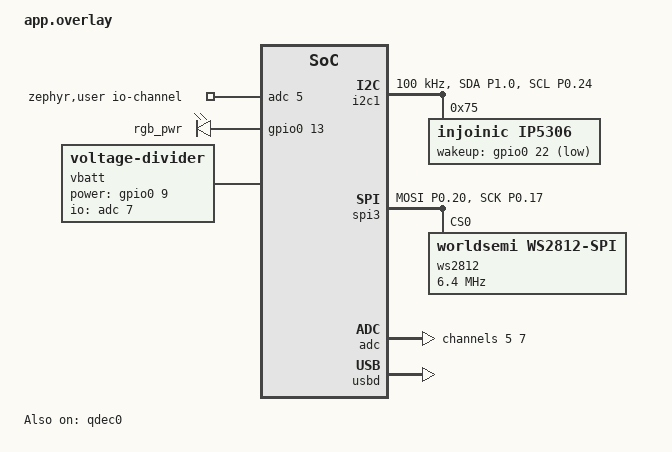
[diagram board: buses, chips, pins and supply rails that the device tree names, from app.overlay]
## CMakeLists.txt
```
# SPDX-License-Identifier: Apache-2.0

cmake_minimum_required(VERSION 3.20.0)
find_package(Zephyr REQUIRED HINTS $ENV{ZEPHYR_BASE})
project(keypad)

zephyr_include_directories(include)

target_sources(app PRIVATE
  src/main.c
  src/app/encoder.c
  src/app/power_mgr.c
  src/app/mode.c
  src/app/keyboard_core.c
  src/app/keymap.c
  src/app/led_strip.c
  src/hid_scheduler.c
  src/usb_hid_transport.c
  src/ble_hid_service.c
  src/events/battery_event.c
  src/events/encoder_event.c
  src/events/mode_event.c
  src/events/hid_key_event.c
  src/events/hid_consumer_event.c
  src/events/hid_led_event.c
  src/events/hid_report_to_send_event.c
  src/events/hid_report_sent_event.c
  src/events/hid_channel_ready_event.c
  src/events/set_protocol_event.c
  src/events/bitmap_cfg_event.c
  src/events/funckey_report_event.c
  src/events/theme_rgb_update_event.c
  src/events/led_strip_en_event.c
  drivers/ip5306/ip5306.c
)
```

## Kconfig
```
# 蓝牙小键盘应用 Kconfig

mainmenu "BLE keypad application"

source "Kconfig.zephyr"

menu "Drivers"
rsource "drivers/ip5306/Kconfig"
endmenu
```

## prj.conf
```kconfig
# 蓝牙小键盘（对齐参考 keyboard 工程）
# CAF buttons 矩阵 + 硬件 QDEC + voltage-divider 电池 + IP5306 PPI 保活

CONFIG_GPIO=y

# CAF 事件管理器
CONFIG_CAF=y
CONFIG_APP_EVENT_MANAGER=y
CONFIG_APP_EVENT_MANAGER_MAX_EVENT_CNT=256
CONFIG_CAF_BUTTON_EVENTS=y

# CAF buttons：矩阵扫描、去抖、低功耗唤醒、按键保活
CONFIG_CAF_BUTTONS=y
CONFIG_CAF_BUTTONS_PM_KEEP_ALIVE=y

# CAF Power Manager：空闲进入 suspended，不进入 System OFF
CONFIG_CAF_POWER_MANAGER=y
CONFIG_CAF_POWER_MANAGER_STAY_ON=y
CONFIG_CAF_POWER_MANAGER_TIMEOUT=120
CONFIG_CAF_POWER_MANAGER_CLEAR_RESET_REASON=y
CONFIG_CAF_KEEP_ALIVE_EVENTS=y
CONFIG_REBOOT=y

# 编码器：硬件 QDEC（sensor API）
CONFIG_SENSOR=y
CONFIG_QDEC_NRFX=y

# 电池：voltage-divider 传感器驱动
CONFIG_VOLTAGE_DIVIDER=y

# IP5306 PMIC + I2C + ADC + PPI 硬件保活
CONFIG_IP5306=y
CONFIG_I2C=y
CONFIG_ADC=y
CONFIG_NRFX_GPPI=y

# USB Device Next Stack：复合设备（HID Keyboard + HID Consumer + CDC ACM）
CONFIG_USB_DEVICE_STACK_NEXT=y
CONFIG_USBD_HID_SUPPORT=y
CONFIG_USBD_HID_IN_BUF_COUNT=4
CONFIG_USBD_HID_OUT_BUF_COUNT=2

# CDC ACM（复合设备第三接口，占位）
CONFIG_SERIAL=y
CONFIG_UART_LINE_CTRL=y
CONFIG_USBD_CDC_ACM_CLASS=y

# ============ BLE HID（与 USB 同级，模式切换）============
# Zephyr BT 基础
CONFIG_BT=y
CONFIG_BT_PERIPHERAL=y
CONFIG_BT_MAX_CONN=1
CONFIG_BT_MAX_PAIRED=1
CONFIG_BT_DEVICE_NAME="ATG KBD 32500"
CONFIG_BT_DEVICE_APPEARANCE=961
CONFIG_BT_SMP=y
CONFIG_BT_BONDABLE=y
CONFIG_BT_ATT_TX_COUNT=5
CONFIG_BT_L2CAP_TX_MTU=65
CONFIG_BT_BUF_ACL_RX_SIZE=69
CONFIG_BT_BUF_ACL_TX_SIZE=69
CONFIG_BT_GATT_AUTO_SEC_REQ=n
CONFIG_BT_AUTO_PHY_UPDATE=n
CONFIG_BT_CONN_CTX=y

# Advertising provisioning（CAF ble_adv 需要）
CONFIG_BT_ADV_PROV_FLAGS=y
CONFIG_BT_ADV_PROV_GAP_APPEARANCE=y
CONFIG_BT_ADV_PROV_DEVICE_NAME=y
CONFIG_BT_ADV_PROV_DEVICE_NAME_SD=y
# 设备名始终广播（默认仅在配对模式带名，绑定后搜不到）
CONFIG_BT_ADV_PROV_DEVICE_NAME_PAIRING_MODE_ONLY=n
CONFIG_BT_ADV_PROV_SWIFT_PAIR=y

# HID over GATT + BAS + DIS
CONFIG_BT_HIDS=y
CONFIG_BT_HIDS_MAX_CLIENT_COUNT=1
CONFIG_BT_HIDS_INPUT_REP_MAX=2
CONFIG_BT_HIDS_OUTPUT_REP_MAX=1
CONFIG_BT_HIDS_ATTR_MAX=50
CONFIG_BT_GATT_CHRC_POOL_SIZE=20
CONFIG_BT_GATT_UUID16_POOL_SIZE=40
CONFIG_BT_BAS=y
CONFIG_BT_DIS=y
CONFIG_BT_DIS_MANUF_NAME=y
CONFIG_BT_DIS_MANUF_NAME_STR="atguigu"
CONFIG_BT_DIS_PNP=y
CONFIG_BT_DIS_PNP_VID_SRC=2
CONFIG_BT_DIS_PNP_VID=0x2FE3
CONFIG_BT_DIS_PNP_PID=0x0001
CONFIG_BT_DIS_PNP_VER=0x0100

# CAF BLE 模块
CONFIG_CAF_BLE_STATE=y
# 关闭主动请求加密：Windows 作为 HID 主机连接后会主动发起配对加密，
# 设备被动响应更稳定（避免主动 set_security 与主机初始化竞争导致 err 2）
# CONFIG_CAF_BLE_STATE_SECURITY_REQ=y
CONFIG_CAF_BLE_STATE_PM=y
CONFIG_CAF_BLE_STATE_MAX_LOCAL_ID_BONDS=1
CONFIG_CAF_MODULE_SUSPEND_EVENTS=y
CONFIG_CAF_BLE_ADV=y
CONFIG_CAF_BLE_ADV_MODULE_SUSPEND_EVENTS=y
CONFIG_CAF_BLE_ADV_FAST_ADV=y
# 关闭 accept list 过滤：删除设备后立即可重新搜索/配对（键盘场景便利优先）
# CONFIG_CAF_BLE_ADV_FILTER_ACCEPT_LIST=y
CONFIG_CAF_BLE_BOND=y
CONFIG_CAF_BLE_BOND_PEER_ERASE_CLICK=y
CONFIG_CAF_BLE_BOND_PEER_ERASE_CLICK_LONG=y
CONFIG_CAF_BLE_BOND_PEER_ERASE_CLICK_KEY_ID=3
CONFIG_CAF_BLE_BOND_PEER_ERASE_CLICK_TIMEOUT=5000

# 点击检测（旋钮按键短/长按 → 配对/清绑定）
CONFIG_CAF_CLICK_DETECTOR=y
CONFIG_CAF_CLICK_DETECTOR_DEF_PATH="click_detector_def.h"

# 绑定持久化（settings + NVS）
CONFIG_BT_SETTINGS=y
CONFIG_CAF_SETTINGS_LOADER=y
CONFIG_CAF_SETTINGS_LOADER_DEF_PATH="settings_loader_def.h"
CONFIG_CAF_SETTINGS_LOADER_USE_THREAD=y
CONFIG_CAF_SETTINGS_LOADER_THREAD_STACK_SIZE=1792
CONFIG_SETTINGS=y
CONFIG_SETTINGS_NVS=y
CONFIG_NVS=y
CONFIG_FLASH=y
CONFIG_FLASH_PAGE_LAYOUT=y
CONFIG_FLASH_MAP=y

# 日志（RTT 输出）
CONFIG_LOG=y
CONFIG_USE_SEGGER_RTT=y
CONFIG_CONSOLE=y
CONFIG_RTT_CONSOLE=y
CONFIG_SEGGER_RTT_BUFFER_SIZE_UP=16384

# CAF 事件管理器需要堆内存（BLE 栈加大）
CONFIG_HEAP_MEM_POOL_SIZE=8192

# ===== WS2812 LED strip =====
CONFIG_LED=y
CONFIG_LED_STRIP=y
CONFIG_WS2812_STRIP_SPI=y
CONFIG_SPI=y
CONFIG_SPI_NRFX=y
```

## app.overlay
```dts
/*
 * 蓝牙小键盘 - devicetree overlay（对齐参考工程 keyboard）
 *
 * 包含：
 *   - EC11 编码器（硬件 QDEC：qdec0，A=P0.10 B=P1.06）
 *   - IP5306 PMIC（I2C1，地址 0x75，PPI/GPIOTE 硬件保活）
 *   - 电池电压（voltage-divider 传感器，AIN7 / P0.31，BAT_ADC_EN=P0.09）
 *   - NFC 引脚释放为 GPIO
 */

#include <zephyr/dt-bindings/gpio/gpio.h>
#include <zephyr/dt-bindings/pinctrl/nrf-pinctrl.h>
#include <zephyr/dt-bindings/adc/adc.h>
#include <zephyr/dt-bindings/adc/nrf-adc.h>
#include <zephyr/dt-bindings/led/led.h>

/ {
	/* 三模切换拨档：AIN5 = P0.29（E73 引脚8），SK-13D07-4 三档分压 0/1.65/3.3V */
	zephyr,user {
		io-channels = <&adc 5>;
	};

	/* USB HID：键盘（NKRO/Boot）+ Consumer */
	hid_kbd: hid_kbd {
		compatible = "zephyr,hid-device";
		label = "HID_KBD";
		protocol-code = "keyboard";
		in-report-size = <29>;
		out-report-size = <29>;
		in-polling-period-us = <1000>;
		out-polling-period-us = <1000>;
	};

	hid_consumer: hid_consumer {
		compatible = "zephyr,hid-device";
		label = "HID_CONSUMER";
		protocol-code = "none";
		in-report-size = <2>;
		in-polling-period-us = <1000>;
	};

	/* WS2812 灯带别名（用于 led_strip.c 获取设备） */
	aliases {
		led-strip = &ws2812;
	};

	/* WS2812 供电控制（gpio-leds 方式，避免 regulator-fixed 无宏坑） */
	rgb_pwr_en: rgb-pwr-en {
		compatible = "gpio-leds";
		rgb_pwr: rgb_pwr {
			gpios = <&gpio0 13 GPIO_ACTIVE_HIGH>;
		};
	};

	/* 电池电压分压采样（voltage-divider 传感器驱动）：
	 * R6(100k) + R8(100k) -> 采中间点，倍率为 full/output = 2
	 * BAT_ADC_EN = P0.09（NF1 释放为 GPIO），高有效使能分压网络
	 */
	vbatt: vbatt {
		compatible = "voltage-divider";
		io-channels = <&adc 7>;
		output-ohms = <100000>;
		full-ohms = <200000>;
		power-gpios = <&gpio0 9 GPIO_ACTIVE_HIGH>;
		power-on-sample-delay-us = <15000>;
	};
};

&uicr {
	nfct-pins-as-gpios;
};

&pinctrl {
	i2c1_default: i2c1_default {
		group1 {
			psels = <NRF_PSEL(TWIM_SDA, 1, 0)>,
				<NRF_PSEL(TWIM_SCL, 0, 24)>;
		};
	};

	i2c1_sleep: i2c1_sleep {
		group1 {
			psels = <NRF_PSEL(TWIM_SDA, 1, 0)>,
				<NRF_PSEL(TWIM_SCL, 0, 24)>;
			low-power-enable;
		};
	};

	qdec_default: qdec_default {
		group1 {
			psels = <NRF_PSEL(QDEC_A, 0, 10)>,
				<NRF_PSEL(QDEC_B, 1, 6)>;
			bias-pull-up;
		};
	};

	qdec_sleep: qdec_sleep {
		group1 {
			psels = <NRF_PSEL(QDEC_A, 0, 10)>,
				<NRF_PSEL(QDEC_B, 1, 6)>;
			low-power-enable;
		};
		};

	spi3_default: spi3_default {
		group1 {
			psels = <NRF_PSEL(SPIM_MOSI, 0, 20)>,
				<NRF_PSEL(SPIM_SCK,  0, 17)>;
		};
	};

	spi3_sleep: spi3_sleep {
		group1 {
			psels = <NRF_PSEL(SPIM_MOSI, 0, 20)>,
				<NRF_PSEL(SPIM_SCK,  0, 17)>;
			low-power-enable;
		};
	};
};

&i2c1 {
	compatible = "nordic,nrf-twim";
	status = "okay";
	clock-frequency = <100000>;
	pinctrl-0 = <&i2c1_default>;
	pinctrl-1 = <&i2c1_sleep>;
	pinctrl-names = "default", "sleep";

	ip5306: ip5306@75 {
		compatible = "injoinic,ip5306";
		reg = <0x75>;
		wakeup-gpios = <&gpio0 22 GPIO_ACTIVE_LOW>;
		keep-alive-interval-ms = <15000>;
		pulse-width-ms = <50>;
	};
};

&spi3 {
	compatible = "nordic,nrf-spim";
	status = "okay";
	#address-cells = <1>;
	#size-cells = <0>;
	pinctrl-0 = <&spi3_default>;
	pinctrl-1 = <&spi3_sleep>;
	pinctrl-names = "default", "sleep";

	ws2812: ws2812@0 {
		compatible = "worldsemi,ws2812-spi";
		reg = <0>;
		spi-max-frequency = <6400000>;
		spi-one-frame = <0x70>;
		spi-zero-frame = <0x40>;
		chain-length = <17>;
		color-mapping = <LED_COLOR_ID_GREEN
				 LED_COLOR_ID_RED
				 LED_COLOR_ID_BLUE>;
	};
};

&qdec0 {
	led-pre = <0>;
	steps = <80>;
	nordic,period = "SAMPLEPER_2048US";
	pinctrl-0 = <&qdec_default>;
	pinctrl-1 = <&qdec_sleep>;
	pinctrl-names = "default", "sleep";
	status = "okay";
};

&adc {
	status = "okay";
	#address-cells = <1>;
	#size-cells = <0>;

	/* 三模切换：AIN5 = P0.29 */
	channel@5 {
		reg = <5>;
		zephyr,gain = "ADC_GAIN_1_6";
		zephyr,reference = "ADC_REF_INTERNAL";
		zephyr,acquisition-time = <ADC_ACQ_TIME_DEFAULT>;
		zephyr,input-positive = <NRF_SAADC_AIN5>;
		zephyr,resolution = <14>;
	};

	channel@7 {
		reg = <7>;
		zephyr,gain = "ADC_GAIN_1_6";
		zephyr,reference = "ADC_REF_INTERNAL";
		zephyr,acquisition-time = <ADC_ACQ_TIME_DEFAULT>;
		zephyr,input-positive = <NRF_SAADC_AIN7>;
		zephyr,resolution = <14>;
	};
};

&usbd {
	status = "okay";

	cdc_acm_uart0: cdc_acm_uart0 {
		compatible = "zephyr,cdc-acm-uart";
		label = "CDC_ACM_0";
	};
};
```

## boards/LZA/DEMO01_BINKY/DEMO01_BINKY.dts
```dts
/dts-v1/;
#include <nordic/nrf52840_qiaa.dtsi>
#include "DEMO01_BINKY-pinctrl.dtsi"

/ {
	model = "DEMO01_BINKY TEST";
	compatible = "LZA,DEMO01-BINKY";

	chosen {
		zephyr,sram = &sram0;
		zephyr,flash = &flash0;
		zephyr,code-partition = &slot0_partition;
	};
		// LED
	aliases {
        led0 = &myled0;
     };

  	leds {
    	compatible = "gpio-leds";

		// GPIO 1.02 拉低有效
    	myled0: led_0 {
      		gpios = <&gpio1 2 GPIO_ACTIVE_LOW>;
    	};
  	};
};

&flash0 {
	partitions {
		compatible = "fixed-partitions";
		#address-cells = <1>;
		#size-cells = <1>;

		boot_partition: partition@0 {
			label = "mcuboot";
			reg = <0x00000000 DT_SIZE_K(48)>;
		};

		slot0_partition: partition@c000 {
			label = "image-0";
			reg = <0x0000c000 DT_SIZE_K(472)>;
		};

		slot1_partition: partition@82000 {
			label = "image-1";
			reg = <0x00082000 DT_SIZE_K(472)>;
		};

		storage_partition: partition@f8000 {
			label = "storage";
			reg = <0x000f8000 DT_SIZE_K(32)>;
		};
	};
};

// 开启GPIO外设
&gpio0 {
	status = "okay";
};

&gpio1 {
	status = "okay";
};

&gpiote {
	status = "okay";
};
```

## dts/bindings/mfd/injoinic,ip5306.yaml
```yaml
description: IP5306 Power Management IC

compatible: "injoinic,ip5306"

include: [i2c-device.yaml]

properties:
  wakeup-gpios:
    type: phandle-array
    required: false
    description: |
      GPIO connected to IP5306 KEY pin.
      When configured, the driver generates periodic low pulses
      to prevent IP5306 from entering light-load auto-shutdown.

  keep-alive-interval-ms:
    type: int
    required: false
    default: 15000
    description: Interval between KEY keep-awive pulses (ms).

  pulse-width-ms:
    type: int
    required: false
    default: 50
    description: |
      Width of KEY low pulse (ms). Must be > 30ms per IP5306
      short-press debounce spec.
```

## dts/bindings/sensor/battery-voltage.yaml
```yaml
# SPDX-License-Identifier: Apache-2.0

description: Battery voltage measurement node

compatible: "battery-voltage"

include: base.yaml
```

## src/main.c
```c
/*
 * 蓝牙小键盘 - 主程序（CAF 标准，对齐参考 keyboard 工程）
 *
 * 仅初始化 app_event_manager 并上报 main READY；
 * CAF buttons 矩阵扫描/唤醒、QDEC 编码器、power_mgr 电池、
 * keyboard_core 按键消费均由各模块在 main READY 后自动初始化。
 */

#include <zephyr/kernel.h>
#include <zephyr/logging/log.h>

#include <app_event_manager.h>

#define MODULE main
#include <caf/events/module_state_event.h>

LOG_MODULE_REGISTER(MODULE);

int main(void)
{
	if (app_event_manager_init()) {
		LOG_ERR("Application Event Manager not initialized");
		return 0;
	}

	module_set_state(MODULE_STATE_READY);

	return 0;
}
```

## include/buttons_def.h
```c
/*
 * 蓝牙小键盘 - CAF buttons 行列定义
 *
 * 列 = 输出高有效（扫描源），行 = 输入 + 下拉 + 高有效（默认极性）。
 * 与参考 keyboard 工程 inc/buttons_def.h 一致，也等价于原 matrix.c 的扫描方式。
 */

#include <caf/gpio_pins.h>

static const struct gpio_pin col[] = {
	{ .port = 0, .pin = 5 },   /* COL0 P0.05 */
	{ .port = 0, .pin = 6 },   /* COL1 P0.06 */
	{ .port = 0, .pin = 26 },  /* COL2 P0.26 */
	{ .port = 0, .pin = 30 },  /* COL3 P0.30 */
};

static const struct gpio_pin row[] = {
	{ .port = 0, .pin = 15 },  /* ROW0 P0.15 */
	{ .port = 0, .pin = 7 },   /* ROW1 P0.07 */
	{ .port = 0, .pin = 12 },  /* ROW2 P0.12 */
	{ .port = 0, .pin = 4 },   /* ROW3 P0.04 */
	{ .port = 1, .pin = 9 },   /* ROW4 P1.09 */
	{ .port = 0, .pin = 8 },   /* ROW5 P0.08 */
};
```

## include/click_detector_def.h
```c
/*
 * SPDX-License-Identifier: LicenseRef-Nordic-5-Clause
 */

#include <caf/click_detector.h>
#include <caf/key_id.h>

/* single-include guard */
const struct {} click_detector_def_include_once;

static const struct click_detector_config click_detector_config[] = {
	{
		.key_id = KEY_ID(3, 0),  /* 旋钮按键：COL3, ROW0 */
		.consume_button_event = false,
	},
};
```

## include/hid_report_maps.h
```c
/*
 * SPDX-License-Identifier: LicenseRef-Nordic-5-Clause
 *
 * Shared HID Report Maps — used by USB and BLE transports.
 */

#ifndef _HID_REPORT_MAPS_H_
#define _HID_REPORT_MAPS_H_

#include <stdint.h>

/* ── Report Sizes ── */
#define HID_KBD_BOOT_SIZE   8
#define HID_KBD_NKRO_SIZE  29
#define HID_CONSUMER_SIZE   2

/* ── Report IDs (BLE only) ── */
#define BLE_REPORT_ID_KEYBOARD  1
#define BLE_REPORT_ID_CONSUMER  2

/* ── Input Report Indices (BLE bt_hids) ── */
#define BLE_INPUT_REP_KBD_IDX  0
#define BLE_INPUT_REP_CC_IDX   1

/* ══════════════════════════════════════════════════════════════════
 * USB Report Descriptors (no Report ID, dual-interface)
 * ══════════════════════════════════════════════════════════════════ */

/*
 * Keyboard: 29-byte Variable bitmap NKRO (no report ID).
 * Byte 0 = modifier, bytes 1-28 = bitmap (224 bits for usage 0x00-0xDF).
 * kbdhid.sys binds to this because there is no report ID to misparse.
 */
static const uint8_t usb_kbd_report_desc[] = {
	0x05, 0x01, 0x09, 0x06, 0xA1, 0x01, /* GD, Keyboard, Collection */
	0x05, 0x07,                         /* Keyboard Page */
	0x19, 0xE0, 0x29, 0xE7,             /* Modifier: 8x1bit Var (0xE0-0xE7) */
	0x15, 0x00, 0x25, 0x01, 0x75, 0x01, 0x95, 0x08, 0x81, 0x02,
	0x05, 0x07,                         /* Keyboard Page */
	0x19, 0x00, 0x2A, 0xDF, 0x00,      /* Bitmap: 224x1bit Var (0x00-0xDF) */
	0x15, 0x00, 0x25, 0x01, 0x75, 0x01, 0x96, 0xE0, 0x00, 0x81, 0x02,
	0x05, 0x08, 0x19, 0x01, 0x29, 0x05, /* LED Output: 5bit + 3pad */
	0x15, 0x00, 0x25, 0x01, 0x75, 0x01, 0x95, 0x05, 0x91, 0x02,
	0x75, 0x03, 0x95, 0x01, 0x91, 0x01,
	0xC0
};

/*
 * Consumer Control: 2-byte Array (no report ID).
 */
static const uint8_t usb_consumer_report_desc[] = {
	0x05, 0x0C, 0x09, 0x01, 0xA1, 0x01, /* Consumer, CC, Collection */
	0x15, 0x00, 0x26, 0xFF, 0x03,      /* 0..1023 */
	0x19, 0x00, 0x2A, 0xFF, 0x03,
	0x75, 0x10, 0x95, 0x01,             /* 16-bit Array */
	0x81, 0x00,                         /* Input (Data,Array,Abs) */
	0xC0
};

/* ── BLE Report Sizes (including Report ID byte) ── */
#define BLE_KBD_REPORT_SIZE  30  /* 1B ID + 29B NKRO */
#define BLE_CC_REPORT_SIZE    3  /* 1B ID + 2B data */

/* ══════════════════════════════════════════════════════════════════
 * BLE Report Map (single HID Service, Report IDs)
 * ══════════════════════════════════════════════════════════════════ */

/*
 * Combined Keyboard + Consumer Control.
 * Report ID 1: Keyboard (29-byte NKRO bitmap — same format as USB)
 * Report ID 2: Consumer Control (2-byte: 16-bit usage)
 */
static const uint8_t ble_report_map[] = {
	/* ── Report ID 1: Keyboard (NKRO bitmap) ── */
	0x05, 0x01, 0x09, 0x06, 0xA1, 0x01, /* GD, Keyboard, Collection */
	0x85, 0x01,                         /*   Report ID 1 */
	0x05, 0x07,                         /*   Keyboard Page */
	0x19, 0xE0, 0x29, 0xE7,             /*   Modifier: 8x1bit Var (0xE0-0xE7) */
	0x15, 0x00, 0x25, 0x01, 0x75, 0x01, 0x95, 0x08, 0x81, 0x02,
	0x05, 0x07,                         /*   Keyboard Page */
	0x19, 0x00, 0x2A, 0xDF, 0x00,      /*   Bitmap: 224x1bit Var (0x00-0xDF) */
	0x15, 0x00, 0x25, 0x01, 0x75, 0x01, 0x96, 0xE0, 0x00, 0x81, 0x02,
	0x05, 0x08, 0x19, 0x01, 0x29, 0x05, /*   LED Output: 5bit + 3pad */
	0x15, 0x00, 0x25, 0x01, 0x75, 0x01, 0x95, 0x05, 0x91, 0x02,
	0x75, 0x03, 0x95, 0x01, 0x91, 0x01,
	0xC0,                             /* End Collection */

	/* ── Report ID 2: Consumer Control ── */
	0x05, 0x0C, 0x09, 0x01, 0xA1, 0x01, /* Consumer, CC, Collection */
	0x85, 0x02,                         /*   Report ID 2 */
	0x15, 0x00, 0x26, 0xFF, 0x03,      /*   0..1023 */
	0x19, 0x00, 0x2A, 0xFF, 0x03,
	0x75, 0x10, 0x95, 0x01,             /*   16-bit Array */
	0x81, 0x00,                         /*   Input (Data,Array,Abs) */
	0xC0                              /* End Collection */
};

#endif /* _HID_REPORT_MAPS_H_ */
```

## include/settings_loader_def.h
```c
/*
 * SPDX-License-Identifier: LicenseRef-Nordic-5-Clause
 *
 * Settings loader configuration — defines which modules must be
 * initialized before settings_load() is called.
 */

const struct {} settings_loader_def_include_once;

#include <caf/events/module_state_event.h>

static inline void get_req_modules(struct module_flags *mf)
{
	module_flags_set_bit(mf, MODULE_IDX(main));
#ifdef CONFIG_CAF_BLE_STATE
	module_flags_set_bit(mf, MODULE_IDX(ble_state));
#endif
}
```

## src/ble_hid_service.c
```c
/*
 * SPDX-License-Identifier: LicenseRef-Nordic-5-Clause
 *
 * BLE HID Service — wraps bt_hids (keyboard + consumer), BAS, DIS.
 * Controls CAF ble_adv through module_resume_req / module_suspend_req.
 *
 * 对齐参考 keyboard 工程 src/ble_hid_service.c，并补强：
 *  - 加密完成（PEER_STATE_SECURED）+ 通知开启（CCC notify_handler）双门控，
 *    未满足时丢弃报告（要求 2）。
 *  - 与 USB 共用 keyboard_core / hid_scheduler / set_protocol_event / hid_led_event。
 */

#include <errno.h>
#include <stdbool.h>
#include <stdint.h>
#include <string.h>

#include <app_event_manager.h>

#define MODULE ble_hid
#include <caf/events/module_state_event.h>
#include <caf/events/module_suspend_event.h>
#include <caf/events/ble_common_event.h>
#include <caf/events/power_event.h>
#include <caf/events/power_manager_event.h>

#include <zephyr/kernel.h>
#include <zephyr/bluetooth/bluetooth.h>
#include <zephyr/bluetooth/conn.h>
#include <zephyr/bluetooth/uuid.h>
#include <zephyr/bluetooth/gatt.h>

#include <zephyr/bluetooth/services/bas.h>
#include <zephyr/bluetooth/services/dis.h>
#include <bluetooth/services/hids.h>
#include <bluetooth/adv_prov.h>

#include <zephyr/logging/log.h>

#include "events/hid_channel.h"
#include "events/hid_report_to_send_event.h"
#include "events/hid_report_sent_event.h"
#include "events/hid_channel_ready_event.h"
#include "events/set_protocol_event.h"
#include "events/hid_led_event.h"
#include "events/mode_event.h"
#include "hid_report_maps.h"

LOG_MODULE_REGISTER(MODULE, LOG_LEVEL_INF);

/* ================================================================= *
 *  Constants
 * ================================================================= */

#define BASE_USB_HID_SPEC_VERSION  0x0101

/* ================================================================= *
 *  HIDS Instance
 * ================================================================= */

BT_HIDS_DEF(hids_obj,
	    BLE_KBD_REPORT_SIZE,
	    BLE_CC_REPORT_SIZE);

/* ================================================================= *
 *  Advertising Provider: UUID16 (HIDS + BAS) — SD only, pairing mode
 * ================================================================= */

static int sd_uuid16_get_data(struct bt_data *d,
			      const struct bt_le_adv_prov_adv_state *state,
			      struct bt_le_adv_prov_feedback *fb)
{
	ARG_UNUSED(fb);

	if (!state->pairing_mode) {
		return -ENOENT;
	}

	static uint8_t data[] = {
		BT_UUID_16_ENCODE(BT_UUID_HIDS_VAL),
		BT_UUID_16_ENCODE(BT_UUID_BAS_VAL),
	};

	d->type = BT_DATA_UUID16_ALL;
	d->data_len = sizeof(data);
	d->data = data;
	return 0;
}
BT_LE_ADV_PROV_SD_PROVIDER_REGISTER(uuid16_all, sd_uuid16_get_data);

/* ================================================================= *
 *  State
 * ================================================================= */

static struct bt_conn *_active_conn;
static bool _peer_boot_mode;
static bool _ble_active;

/* 要求 2：加密完成 + 通知开启 双门控 */
static bool _peer_secured;
static bool _peer_notify_on;

/* ================================================================= *
 *  Report Sending
 * ================================================================= */

static void inp_report_done(struct bt_conn *conn, void *user_data)
{
	ARG_UNUSED(conn);
	ARG_UNUSED(user_data);
	hid_report_sent_event_submit(HID_CHANNEL_BLE_SHARED);
}

static void boot8_to_nkro(uint8_t *dst, const uint8_t *src)
{
	/* bt_hids adds Report ID from inp_rep->id — do NOT include it here.
	 * Output: 29 bytes (1 modifier + 28 bitmap), no report ID.
	 */
	dst[0] = src[0];          /* modifier */
	memset(&dst[1], 0, 28);   /* bitmap */

	for (int i = 2; i < 8; i++) {
		uint8_t usage = src[i];

		if (usage == 0x00 || usage > 0xDF) {
			continue;
		}
		dst[1 + (usage >> 3)] |= (uint8_t)(1 << (usage & 0x07));
	}
}

static void on_report_to_send(const struct hid_report_to_send_event *evt)
{
	int err;

	/* 门控：必须已连接。secured/notify 作为诊断信息（参考工程只查 _active_conn，
	 * 已绑定重连时 CCC 通知状态可能不重新触发，不宜硬阻塞）。
	 */
	if (!_active_conn) {
		LOG_WRN("BLE report dropped: no active conn, size=%u",
			evt->report_size);
		hid_report_sent_event_submit(HID_CHANNEL_BLE_SHARED);
		return;
	}

	if (!_peer_secured || !_peer_notify_on) {
		LOG_WRN("BLE report (not secured/notify): conn=%p secured=%d notify=%d size=%u",
			(void *)_active_conn, _peer_secured, _peer_notify_on,
			evt->report_size);
	}

	if (evt->report_size == HID_CONSUMER_SIZE) {
		if (_peer_boot_mode) {
			hid_report_sent_event_submit(HID_CHANNEL_BLE_SHARED);
			return;
		}
		/* bt_hids manages Report ID from inp_rep->id — send payload only (2 bytes) */
		err = bt_hids_inp_rep_send(&hids_obj, _active_conn,
					   BLE_INPUT_REP_CC_IDX,
					   evt->report, HID_CONSUMER_SIZE,
					   inp_report_done);
		if (err) {
			hid_report_sent_event_submit(HID_CHANNEL_BLE_SHARED);
		}
	} else if (evt->report_size == HID_KBD_NKRO_SIZE) {
		/* bt_hids manages Report ID from inp_rep->id — send payload only (29 bytes) */
		err = bt_hids_inp_rep_send(&hids_obj, _active_conn,
					   BLE_INPUT_REP_KBD_IDX,
					   evt->report, HID_KBD_NKRO_SIZE,
					   inp_report_done);
		if (err) {
			hid_report_sent_event_submit(HID_CHANNEL_BLE_SHARED);
		}
	} else if (evt->report_size == HID_KBD_BOOT_SIZE) {
		if (_peer_boot_mode) {
			err = bt_hids_boot_kb_inp_rep_send(&hids_obj, _active_conn,
							   evt->report,
							   HID_KBD_BOOT_SIZE,
							   inp_report_done);
		} else {
			uint8_t buf[HID_KBD_NKRO_SIZE];

			boot8_to_nkro(buf, evt->report);
			err = bt_hids_inp_rep_send(&hids_obj, _active_conn,
						   BLE_INPUT_REP_KBD_IDX,
						   buf, HID_KBD_NKRO_SIZE,
						   inp_report_done);
		}
		if (err) {
			hid_report_sent_event_submit(HID_CHANNEL_BLE_SHARED);
		}
	}
}

/* ================================================================= *
 *  HIDS Callbacks
 * ================================================================= */

static void hids_pm_evt_handler(enum bt_hids_pm_evt evt,
				struct bt_conn *conn)
{
	_peer_boot_mode = (evt == BT_HIDS_PM_EVT_BOOT_MODE_ENTERED);

	set_protocol_event_submit(
		_peer_boot_mode ? HID_PROTOCOL_BOOT : HID_PROTOCOL_REPORT);

	LOG_INF("BLE %s mode entered",
		_peer_boot_mode ? "boot" : "report");
}

static void hids_outp_rep_handler(struct bt_hids_rep *rep,
				  struct bt_conn *conn,
				  bool write)
{
	if (!write || !rep || !rep->data || rep->size == 0) {
		return;
	}
	hid_led_event_submit(rep->data[0]);
}

static void hids_boot_kb_outp_rep_handler(struct bt_hids_rep *rep,
					  struct bt_conn *conn,
					  bool write)
{
	hids_outp_rep_handler(rep, conn, write);
}

/* 要求 2：CCC 通知开关回调 */
static void hids_notify_handler(enum bt_hids_notify_evt evt)
{
	_peer_notify_on = (evt == BT_HIDS_CCCD_EVT_NOTIFY_ENABLED);
	LOG_INF("BLE notify %s", _peer_notify_on ? "enabled" : "disabled");
}

/* ================================================================= *
 *  Connection Events
 * ================================================================= */

static void handle_peer_connected(struct bt_conn *conn)
{
	int err = bt_hids_connected(&hids_obj, conn);

	/* 即使 HIDS 上下文分配失败，蓝牙连接已建立，仍记录 _active_conn，
	 * 避免门控丢弃所有报告（bt_hids 发送时自会报错）。
	 */
	_active_conn = conn;
	_peer_boot_mode = false;
	_peer_secured = false;
	/* 注意：不重置 _peer_notify_on —— notify_handler 独立管理，
	 * 且 "notify enabled" 事件可能先于 connected 到达，重置会覆盖它。
	 */

	/* 方案 A：BLE 连接期间禁止系统挂起（防止休眠断开连接） */
	power_manager_restrict(MODULE_IDX(MODULE), POWER_MANAGER_LEVEL_ALIVE);

	if (err) {
		LOG_ERR("bt_hids_connected failed: %d (conn %p)", err, (void *)conn);
	} else {
		LOG_INF("BLE peer connected");
	}
	/* 通知 scheduler BLE 通道就绪 */
	hid_channel_ready_event_submit(HID_CHANNEL_BLE_SHARED, true);
}

static void handle_peer_secured(struct bt_conn *conn)
{
	_peer_secured = true;
	LOG_INF("BLE peer secured");
}

static void handle_peer_disconnected(struct bt_conn *conn)
{
	if (_active_conn == conn) {
		_active_conn = NULL;
	}

	_peer_secured = false;
	_peer_notify_on = false;
	bt_hids_disconnected(&hids_obj, conn);

	/* 通知 scheduler BLE 通道失联 + 强制释放 in_flight */
	hid_channel_ready_event_submit(HID_CHANNEL_BLE_SHARED, false);
	hid_report_sent_event_submit(HID_CHANNEL_BLE_SHARED);

	/* 断开后解除挂起限制（允许系统正常进入低功耗） */
	power_manager_restrict(MODULE_IDX(MODULE), POWER_MANAGER_LEVEL_MAX);
	LOG_INF("BLE peer disconnected");
}

/* ================================================================= *
 *  Init
 * ================================================================= */

static int hids_init(void)
{
	struct bt_hids_init_param init = { 0 };
	struct bt_hids_inp_rep *inp_rep;
	struct bt_hids_outp_feat_rep *outp_rep;

	init.rep_map.data = ble_report_map;
	init.rep_map.size = sizeof(ble_report_map);

	init.info.bcd_hid = BASE_USB_HID_SPEC_VERSION;
	init.info.b_country_code = 0x00;
	init.info.flags = (BT_HIDS_REMOTE_WAKE |
			   BT_HIDS_NORMALLY_CONNECTABLE);

	/* Input Report 0: Keyboard (29 bytes NKRO payload, bt_hids adds Report ID) */
	inp_rep = &init.inp_rep_group_init.reports[BLE_INPUT_REP_KBD_IDX];
	inp_rep->id = BLE_REPORT_ID_KEYBOARD;
	inp_rep->size = HID_KBD_NKRO_SIZE;
	inp_rep->handler = hids_notify_handler;   /* 要求 2：CCC 通知回调 */
	init.inp_rep_group_init.cnt++;

	/* Input Report 1: Consumer Control (2 bytes payload, bt_hids adds Report ID) */
	inp_rep = &init.inp_rep_group_init.reports[BLE_INPUT_REP_CC_IDX];
	inp_rep->id = BLE_REPORT_ID_CONSUMER;
	inp_rep->size = HID_CONSUMER_SIZE;
	inp_rep->handler = hids_notify_handler;   /* 要求 2：CCC 通知回调 */
	init.inp_rep_group_init.cnt++;

	/* Output Report 0: LED */
	outp_rep = &init.outp_rep_group_init.reports[0];
	outp_rep->id = BLE_REPORT_ID_KEYBOARD;
	outp_rep->size = 1;
	outp_rep->handler = hids_outp_rep_handler;
	init.outp_rep_group_init.cnt++;

	init.is_kb = true;
	init.boot_kb_outp_rep_handler = hids_boot_kb_outp_rep_handler;
	init.pm_evt_handler = hids_pm_evt_handler;

	int err = bt_hids_init(&hids_obj, &init);

	if (err) {
		LOG_ERR("bt_hids_init failed: %d", err);
	}
	return err;
}

/* ================================================================= *
 *  Lifecycle: Start / Stop (via CAF ble_adv module_resume/suspend)
 * ================================================================= */

static void ble_start(void)
{
	if (_ble_active) {
		return;
	}

	LOG_INF("BLE transport starting");

	struct module_resume_req_event *evt = new_module_resume_req_event();

	evt->sink_module_id = MODULE_ID(ble_adv);
	evt->src_module_id = MODULE_ID(MODULE);
	APP_EVENT_SUBMIT(evt);

	_ble_active = true;
	module_set_state(MODULE_STATE_READY);
}

static void ble_stop(void)
{
	/* 不因 _ble_active 跳过：唤醒后 ble_adv 可能自行恢复广播，
	 * 需要强制停止（幂等，重复 suspend 无害）。
	 */
	LOG_INF("BLE transport stopping");

	struct module_suspend_req_event *evt = new_module_suspend_req_event();

	evt->sink_module_id = MODULE_ID(ble_adv);
	evt->src_module_id = MODULE_ID(MODULE);
	APP_EVENT_SUBMIT(evt);

	/* Notify HIDS before clearing connection pointer */
	if (_active_conn) {
		bt_hids_disconnected(&hids_obj, _active_conn);
		bt_conn_disconnect(_active_conn,
				   BT_HCI_ERR_REMOTE_USER_TERM_CONN);
		_active_conn = NULL;
	}

	_peer_secured = false;
	_peer_notify_on = false;
	_ble_active = false;

	/* 通知 scheduler BLE 通道失联 + 强制释放 in_flight */
	hid_channel_ready_event_submit(HID_CHANNEL_BLE_SHARED, false);
	hid_report_sent_event_submit(HID_CHANNEL_BLE_SHARED);

	module_set_state(MODULE_STATE_STANDBY);
}

/* ================================================================= *
 *  CAF Event Listener
 * ================================================================= */

static bool app_event_handler(const struct app_event_header *aeh)
{
	if (is_module_state_event(aeh)) {
		const struct module_state_event *evt =
			cast_module_state_event(aeh);

		/* Registered before BLE to avoid GATT SC_LOAD guard.
		 * On main READY: init HIDS, stay stopped until mode_event selects BLE.
		 */
		if (check_state(evt, MODULE_ID(main), MODULE_STATE_READY)) {
			static bool initialized;

			__ASSERT_NO_MSG(!initialized);
			initialized = true;

			if (hids_init() == 0) {
				module_set_state(MODULE_STATE_STANDBY);
				LOG_INF("BLE HID service initialised (stopped)");
			} else {
				LOG_ERR("HIDS init failed");
			}
			return false;
		}

		return false;
	}

	if (is_ble_peer_event(aeh)) {
		const struct ble_peer_event *evt = cast_ble_peer_event(aeh);

		switch (evt->state) {
		case PEER_STATE_CONNECTED:
			handle_peer_connected(evt->id);
			break;
		case PEER_STATE_SECURED:
			handle_peer_secured(evt->id);
			break;
		case PEER_STATE_DISCONNECTED:
		case PEER_STATE_DISCONNECTING:
			handle_peer_disconnected(evt->id);
			break;
		default:
			break;
		}
		return false;
	}

	if (is_hid_report_to_send_event(aeh)) {
		on_report_to_send(cast_hid_report_to_send_event(aeh));
		return false;
	}

	if (is_mode_event(aeh)) {
		enum keyboard_mode mode = cast_mode_event(aeh)->mode;

		if (mode == KEYBOARD_MODE_BLE) {
			ble_start();
		} else {
			ble_stop();
		}
		return false;
	}

	if (is_power_down_event(aeh)) {
		ble_stop();          /* ble_stop() is idempotent — guarded by _ble_active */
		return false;
	}

	if (is_wake_up_event(aeh)) {
		/* 唤醒后：若当前模式非 BLE，确保 BLE 停止（防止 ble_adv 自行恢复广播） */
		if (mode_get_current() != KEYBOARD_MODE_BLE) {
			ble_stop();
		}
		return false;
	}

	return false;
}

APP_EVENT_LISTENER(MODULE, app_event_handler);
APP_EVENT_SUBSCRIBE_EARLY(MODULE, module_state_event);
APP_EVENT_SUBSCRIBE(MODULE, ble_peer_event);
APP_EVENT_SUBSCRIBE(MODULE, hid_report_to_send_event);
APP_EVENT_SUBSCRIBE_EARLY(MODULE, mode_event);
APP_EVENT_SUBSCRIBE(MODULE, power_down_event);
```

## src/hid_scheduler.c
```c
/*
 * SPDX-License-Identifier: LicenseRef-Nordic-5-Clause
 *
 * HID Scheduler — 三通道发送流控
 *
 * 通道：USB-KBD（latest）、USB-CONSUMER（FIFO）、BLE-SHARED（键 latest + Consumer FIFO）
 * 键盘 latest：单槽 last-wins
 * Consumer FIFO：深度 32，满时丢队首 2 条（保持 press/release 配对）
 * 发送前等待通道 ready；in_flight 由 hid_report_sent_event 释放
 * scheduler 自持 current_mode，mode 切换时主动置通道 ready/清队列
 */

#include <string.h>

#include <app_event_manager.h>
#include <caf/events/module_state_event.h>

#include "events/hid_channel.h"
#include "events/hid_key_event.h"
#include "events/hid_consumer_event.h"
#include "events/hid_report_to_send_event.h"
#include "events/hid_report_sent_event.h"
#include "events/hid_channel_ready_event.h"
#include "events/mode_event.h"

#define MODULE hid_scheduler
#include <caf/events/module_state_event.h>

/* ── CC ring FIFO 深度（方案：32，旋钮 10 卡点 = 20 条） ── */
#define CC_FIFO_DEPTH  32

/* ── 通道状态 ── */
struct hid_channel_state {
	bool ready;
	bool in_flight;

	uint8_t kbd_report[29];
	uint8_t kbd_size;
	bool    kbd_pending;

	uint16_t cc_fifo[CC_FIFO_DEPTH];
	uint8_t  cc_head;
	uint8_t  cc_count;
};

static struct hid_channel_state _channels[HID_CHANNEL_COUNT];

static enum keyboard_mode _current_mode;

/* ── 工具 ── */

static void build_cc_report(uint8_t *out, uint16_t usage)
{
	out[0] = (uint8_t)(usage & 0xFF);
	out[1] = (uint8_t)(usage >> 8);
}

static void channel_reset(struct hid_channel_state *ch)
{
	memset(ch, 0, sizeof(*ch));
}

static struct hid_channel_state *channel_get(enum hid_channel ch)
{
	return &_channels[(unsigned)ch];
}

/* 判断某通道在当前模式下是否启用 */
static bool channel_enabled_in_mode(enum hid_channel ch,
				    enum keyboard_mode mode)
{
	if (mode == KEYBOARD_MODE_USB && ch == HID_CHANNEL_USB_KBD) {
		return true;
	}
	if (mode == KEYBOARD_MODE_USB && ch == HID_CHANNEL_USB_CONSUMER) {
		return true;
	}
	if (mode == KEYBOARD_MODE_BLE && ch == HID_CHANNEL_BLE_SHARED) {
		return true;
	}
	return false;
}

/* ── flush ── */

static void try_flush_channel(struct hid_channel_state *ch,
			      enum hid_channel channel_id)
{
	if (ch->in_flight || !ch->ready) {
		return;
	}

	/* 键盘 priority */
	if (ch->kbd_pending) {
		hid_report_to_send_event_submit(channel_id,
						ch->kbd_report, ch->kbd_size);
		ch->kbd_pending = false;
		ch->in_flight = true;
		return;
	}

	/* consumer FIFO */
	if (ch->cc_count > 0) {
		uint8_t report[2];

		build_cc_report(report, ch->cc_fifo[ch->cc_head]);
		ch->cc_head = (ch->cc_head + 1) % CC_FIFO_DEPTH;
		ch->cc_count--;

		hid_report_to_send_event_submit(channel_id, report, 2);
		ch->in_flight = true;
	}
}

static void try_flush_all(void)
{
	/* 按当前模式只 flush 启用通道 */
	for (int i = 0; i < HID_CHANNEL_COUNT; i++) {
		struct hid_channel_state *ch = &_channels[i];

		if (channel_enabled_in_mode((enum hid_channel)i, _current_mode)) {
			try_flush_channel(ch, (enum hid_channel)i);
		}
	}
}

/* ── 事件处理 ── */

static void on_hid_key_event(const struct hid_key_event *evt)
{
	enum hid_channel ch_id =
		(_current_mode == KEYBOARD_MODE_BLE) ? HID_CHANNEL_BLE_SHARED :
		(_current_mode == KEYBOARD_MODE_USB) ? HID_CHANNEL_USB_KBD :
		HID_CHANNEL_COUNT;

	if (ch_id == HID_CHANNEL_COUNT) {
		return;	/* 2.4G：丢弃 */
	}

	struct hid_channel_state *ch = channel_get(ch_id);

	memcpy(ch->kbd_report, evt->report, evt->report_size);
	ch->kbd_size = evt->report_size;
	ch->kbd_pending = true;
	try_flush_channel(ch, ch_id);
}

static void on_hid_consumer_event(const struct hid_consumer_event *evt)
{
	enum hid_channel ch_id =
		(_current_mode == KEYBOARD_MODE_BLE) ? HID_CHANNEL_BLE_SHARED :
		(_current_mode == KEYBOARD_MODE_USB) ? HID_CHANNEL_USB_CONSUMER :
		HID_CHANNEL_COUNT;

	if (ch_id == HID_CHANNEL_COUNT) {
		return;	/* 2.4G：丢弃 */
	}

	struct hid_channel_state *ch = channel_get(ch_id);

	/* 满：丢队首 2 条（保持 press/release 配对） */
	if (ch->cc_count + 2 > CC_FIFO_DEPTH) {
		ch->cc_head = (ch->cc_head + 2) % CC_FIFO_DEPTH;
		ch->cc_count -= 2;
	}

	uint8_t idx = (ch->cc_head + ch->cc_count) % CC_FIFO_DEPTH;

	ch->cc_fifo[idx] = evt->usage;
	ch->cc_count++;
	try_flush_channel(ch, ch_id);
}

static void on_hid_report_sent(const struct hid_report_sent_event *evt)
{
	enum hid_channel ch_id = evt->channel;

	if ((unsigned)ch_id >= HID_CHANNEL_COUNT) {
		return;
	}

	struct hid_channel_state *ch = channel_get(ch_id);

	ch->in_flight = false;
	try_flush_channel(ch, ch_id);
}

static void on_hid_channel_ready(const struct hid_channel_ready_event *evt)
{
	if ((unsigned)evt->channel >= HID_CHANNEL_COUNT) {
		return;
	}

	struct hid_channel_state *ch = channel_get(evt->channel);

	ch->ready = evt->ready;
	if (!evt->ready) {
		/* 失联：强制释放 in_flight，防止队列冻结 */
		ch->in_flight = false;
	}
	try_flush_channel(ch, evt->channel);
}

static void on_mode_event(const struct mode_event *evt)
{
	_current_mode = evt->mode;

	/* mode 切换：主动置通道 ready/清队列（方案：原子一步） */
	for (int i = 0; i < HID_CHANNEL_COUNT; i++) {
		struct hid_channel_state *ch = &_channels[i];

		if (channel_enabled_in_mode((enum hid_channel)i, _current_mode)) {
			/* 新启用通道：置 ready=true（transport ready 事件做增量修正） */
			ch->ready = true;
			/* 清残留队列 */
			ch->kbd_pending = false;
			ch->cc_count = 0;
			ch->cc_head = 0;
			ch->in_flight = false;
		} else {
			/* 禁用通道：清空并置 not ready */
			channel_reset(ch);
			ch->ready = false;
		}
	}

	try_flush_all();
}

/* ── CAF ── */

static bool app_event_handler(const struct app_event_header *aeh)
{
	if (is_module_state_event(aeh)) {
		const struct module_state_event *evt = cast_module_state_event(aeh);

		if (evt->state == MODULE_STATE_READY &&
		    evt->module_id == MODULE_ID(main)) {
			for (int i = 0; i < HID_CHANNEL_COUNT; i++) {
				channel_reset(&_channels[i]);
			}
			module_set_state(MODULE_STATE_READY);
		}
		return false;
	}

	if (is_hid_key_event(aeh)) {
		on_hid_key_event(cast_hid_key_event(aeh));
		return false;
	}

	if (is_hid_consumer_event(aeh)) {
		on_hid_consumer_event(cast_hid_consumer_event(aeh));
		return false;
	}

	if (is_hid_report_sent_event(aeh)) {
		on_hid_report_sent(cast_hid_report_sent_event(aeh));
		return false;
	}

	if (is_hid_channel_ready_event(aeh)) {
		on_hid_channel_ready(cast_hid_channel_ready_event(aeh));
		return false;
	}

	if (is_mode_event(aeh)) {
		on_mode_event(cast_mode_event(aeh));
		return false;
	}

	return false;
}

APP_EVENT_LISTENER(MODULE, app_event_handler);
APP_EVENT_SUBSCRIBE(MODULE, module_state_event);
APP_EVENT_SUBSCRIBE(MODULE, hid_key_event);
APP_EVENT_SUBSCRIBE(MODULE, hid_consumer_event);
APP_EVENT_SUBSCRIBE_EARLY(MODULE, hid_report_sent_event);
APP_EVENT_SUBSCRIBE(MODULE, hid_channel_ready_event);
APP_EVENT_SUBSCRIBE(MODULE, mode_event);
```

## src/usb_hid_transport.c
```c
/*
 * SPDX-License-Identifier: LicenseRef-Nordic-5-Clause
 *
 * USB HID Transport — manages both hid_kbd and hid_consumer devices,
 * plus CDC ACM (third composite interface, placeholder).
 *
 * 对齐参考 keyboard 工程 src/usb_hid_transport.c：
 *  - 复合设备：keyboard HID + consumer HID + CDC ACM
 *  - Boot Protocol：SET_PROTOCOL → set_protocol_event
 *  - LED output report → hid_led_event
 *  - mode_event：USB 档 usbd_enable，其它档 usbd_disable
 */

#include <errno.h>
#include <stdbool.h>
#include <stdint.h>
#include <string.h>

#include <app_event_manager.h>

#define MODULE usb_hid
#include <caf/events/module_state_event.h>
#include <caf/events/power_event.h>

#include <zephyr/device.h>
#include <zephyr/drivers/usb/udc_buf.h>
#include <zephyr/logging/log.h>
#include <zephyr/usb/usbd.h>
#include <zephyr/usb/class/usbd_hid.h>
#include <zephyr/usb/class/hid.h>

#include "events/hid_channel.h"
#include "events/hid_report_to_send_event.h"
#include "events/hid_report_sent_event.h"
#include "events/hid_channel_ready_event.h"
#include "events/set_protocol_event.h"
#include "events/hid_led_event.h"
#include "events/mode_event.h"
#include "hid_report_maps.h"

LOG_MODULE_REGISTER(MODULE, LOG_LEVEL_INF);

/* ================================================================= *
 *  USB Device Descriptors
 * ================================================================= */

#define USB_VID  0x2FE3
#define USB_PID  0x0001

USBD_DEVICE_DEFINE(usbd_ctx,
		   DEVICE_DT_GET(DT_NODELABEL(usbd)),
		   USB_VID, USB_PID);

USBD_DESC_LANG_DEFINE(usbd_lang);
USBD_DESC_MANUFACTURER_DEFINE(usbd_mfr, "atguigu");
USBD_DESC_PRODUCT_DEFINE(usbd_product, "Mini Keyboard");
USBD_DESC_CONFIG_DEFINE(usbd_fs_cfg, "FS Configuration");
USBD_CONFIGURATION_DEFINE(usbd_fs_config, 0, 100, &usbd_fs_cfg);

/* Report descriptors moved to inc/hid_report_maps.h */

/* ================================================================= *
 *  Per-device State
 * ================================================================= */

#define KBD_REPORT_MAX   HID_KBD_NKRO_SIZE
#define CONSUMER_REPORT  HID_CONSUMER_SIZE

static const struct device *_kbd_dev;
static const struct device *_consumer_dev;
static bool _kbd_iface_ready;
static bool _consumer_iface_ready;
static bool _kbd_in_flight;
static bool _consumer_in_flight;
static bool _powered_down;

UDC_STATIC_BUF_DEFINE(_kbd_tx, KBD_REPORT_MAX);
UDC_STATIC_BUF_DEFINE(_consumer_tx, CONSUMER_REPORT);

/* ================================================================= *
 *  Keyboard HID Callbacks
 * ================================================================= */

static void kbd_iface_ready(const struct device *dev, bool ready)
{
	_kbd_iface_ready = ready;
	if (!ready) { _kbd_in_flight = false; }
	LOG_INF("KBD interface %s", ready ? "ready" : "suspended");
	hid_channel_ready_event_submit(HID_CHANNEL_USB_KBD, ready);
}

static int kbd_get_report(const struct device *dev, const uint8_t type,
			  const uint8_t id, const uint16_t len, uint8_t *const buf)
{
	return -ENOTSUP;
}

static void kbd_handle_led(const uint8_t *buf, uint16_t len)
{
	if (buf == NULL || len == 0) { return; }
	uint8_t led = (len >= 2) ? buf[1] : buf[0]; /* skip report ID if present */

	hid_led_event_submit(led);
}

static int kbd_set_report(const struct device *dev, const uint8_t type,
			  const uint8_t id, const uint16_t len,
			  const uint8_t *const buf)
{
	if (type == HID_REPORT_TYPE_OUTPUT) { kbd_handle_led(buf, len); }
	return 0;
}

static void kbd_set_protocol(const struct device *dev, uint8_t proto)
{
	LOG_INF("Host set protocol: %s",
		proto == HID_PROTOCOL_BOOT ? "boot" : "report");
	set_protocol_event_submit(proto == HID_PROTOCOL_BOOT
				  ? HID_PROTOCOL_BOOT : HID_PROTOCOL_REPORT);
}

static void kbd_input_report_done(const struct device *dev,
				  const uint8_t *const report)
{
	_kbd_in_flight = false;
	hid_report_sent_event_submit(HID_CHANNEL_USB_KBD);
}

static void kbd_output_report(const struct device *dev, const uint16_t len,
			      const uint8_t *const buf)
{
	kbd_handle_led(buf, len);
}

static struct hid_device_ops _kbd_ops = {
	.iface_ready       = kbd_iface_ready,
	.get_report        = kbd_get_report,
	.set_report        = kbd_set_report,
	.set_protocol      = kbd_set_protocol,
	.input_report_done = kbd_input_report_done,
	.output_report     = kbd_output_report,
};

/* ================================================================= *
 *  Consumer Control HID Callbacks
 * ================================================================= */

static void consumer_iface_ready(const struct device *dev, bool ready)
{
	_consumer_iface_ready = ready;
	if (!ready) { _consumer_in_flight = false; }
	LOG_INF("Consumer interface %s", ready ? "ready" : "suspended");
	hid_channel_ready_event_submit(HID_CHANNEL_USB_CONSUMER, ready);
}

static int consumer_get_report(const struct device *dev, const uint8_t type,
			       const uint8_t id, const uint16_t len,
			       uint8_t *const buf)
{
	return -ENOTSUP;
}

static int consumer_set_report(const struct device *dev, const uint8_t type,
			       const uint8_t id, const uint16_t len,
			       const uint8_t *const buf)
{
	return -ENOTSUP;
}

static void consumer_input_report_done(const struct device *dev,
				       const uint8_t *const report)
{
	_consumer_in_flight = false;
	hid_report_sent_event_submit(HID_CHANNEL_USB_CONSUMER);
}

static void consumer_output_report(const struct device *dev, const uint16_t len,
				   const uint8_t *const buf)
{
}

static struct hid_device_ops _consumer_ops = {
	.iface_ready       = consumer_iface_ready,
	.get_report        = consumer_get_report,
	.set_report        = consumer_set_report,
	.set_protocol      = NULL,
	.input_report_done = consumer_input_report_done,
	.output_report     = consumer_output_report,
};

/* ================================================================= *
 *  USBD Message Callback
 * ================================================================= */

static void usbd_msg_cb(struct usbd_context *const ctx,
			const struct usbd_msg *const msg)
{
	if (usbd_can_detect_vbus(ctx)) {
		if (msg->type == USBD_MSG_VBUS_READY) {
			if (usbd_enable(ctx)) {
				LOG_ERR("Failed to enable USB after VBUS");
			}
		}
		if (msg->type == USBD_MSG_VBUS_REMOVED) {
			if (usbd_disable(ctx)) {
				LOG_ERR("Failed to disable USB after VBUS removal");
			}
		}
	}
}

/* ================================================================= *
 *  USBD Initialization
 * ================================================================= */

static int usbd_setup(void)
{
	int err;

	err = usbd_add_descriptor(&usbd_ctx, &usbd_lang);
	if (err) { LOG_ERR("lang desc: %d", err); return err; }
	err = usbd_add_descriptor(&usbd_ctx, &usbd_mfr);
	if (err) { LOG_ERR("mfr desc: %d", err); return err; }
	err = usbd_add_descriptor(&usbd_ctx, &usbd_product);
	if (err) { LOG_ERR("product desc: %d", err); return err; }

	err = usbd_add_configuration(&usbd_ctx, USBD_SPEED_FS, &usbd_fs_config);
	if (err) { LOG_ERR("FS config: %d", err); return err; }

	err = usbd_register_all_classes(&usbd_ctx, USBD_SPEED_FS, 1, NULL);
	if (err) { LOG_ERR("register classes: %d", err); return err; }

	usbd_device_set_code_triple(&usbd_ctx, USBD_SPEED_FS, 0, 0, 0);

	err = usbd_msg_register_cb(&usbd_ctx, usbd_msg_cb);
	if (err) { LOG_ERR("msg cb: %d", err); return err; }

	err = usbd_init(&usbd_ctx);
	if (err) { LOG_ERR("usbd_init: %d", err); return err; }

	/*
	 * nRF52840 的 UDC 驱动无条件上报 can_detect_vbus=true，
	 * 但 nRF52840 无 USBREG 外设（NRF_POWER_HAS_USBREG=0），
	 * nrfx_power_usbevt_enable() 为空实现，VBUS 事件不会产生，
	 * usbd_enable() 永远不会被自动调用。
	 * 因此必须无条件主动使能 USB（nRF52840 由 usbd_enable 直接驱动外设）。
	 */
	err = usbd_enable(&usbd_ctx);
	if (err) { LOG_ERR("usbd_enable: %d", err); return err; }

	return 0;
}

/* ================================================================= *
 *  HID Device Registration
 * ================================================================= */

static int register_hid_devices(void)
{
	int err;

	_kbd_dev = DEVICE_DT_GET(DT_NODELABEL(hid_kbd));
	if (!device_is_ready(_kbd_dev)) {
		LOG_ERR("hid_kbd device not ready");
		return -ENODEV;
	}
	err = hid_device_register(_kbd_dev, usb_kbd_report_desc,
				  sizeof(usb_kbd_report_desc), &_kbd_ops);
	if (err) {
		LOG_ERR("hid_kbd register failed: %d", err);
		return err;
	}

	_consumer_dev = DEVICE_DT_GET(DT_NODELABEL(hid_consumer));
	if (!device_is_ready(_consumer_dev)) {
		LOG_ERR("hid_consumer device not ready");
		return -ENODEV;
	}
	err = hid_device_register(_consumer_dev, usb_consumer_report_desc,
				  sizeof(usb_consumer_report_desc), &_consumer_ops);
	if (err) {
		LOG_ERR("hid_consumer register failed: %d", err);
		return err;
	}

	return 0;
}

/* ================================================================= *
 *  Report Submission
 * ================================================================= */

static void on_report_to_send(const struct hid_report_to_send_event *evt)
{
	const struct device *dev;
	bool *in_flight;
	bool *iface_ready;
	uint8_t *tx_buf;
	enum hid_channel ch_id = evt->channel;

	/* 按 channel 路由 */
	if (ch_id == HID_CHANNEL_USB_CONSUMER) {
		dev = _consumer_dev;
		in_flight = &_consumer_in_flight;
		iface_ready = &_consumer_iface_ready;
		tx_buf = _consumer_tx;
	} else {
		dev = _kbd_dev;
		in_flight = &_kbd_in_flight;
		iface_ready = &_kbd_iface_ready;
		tx_buf = _kbd_tx;
	}

	/* 兜底：不 ready/失败 → 提交带 channel 的 sent，防止 scheduler 冻结 */
	if (!*iface_ready) {
		LOG_WRN("Channel not ready (size=%u), fallback sent", evt->report_size);
		hid_report_sent_event_submit(ch_id);
		return;
	}

	if (*in_flight) {
		LOG_WRN("Drop report (size=%u) while previous in flight", evt->report_size);
		hid_report_sent_event_submit(ch_id);
		return;
	}

	memcpy(tx_buf, evt->report, evt->report_size);
	int err = hid_device_submit_report(dev, evt->report_size, tx_buf);

	if (err) {
		LOG_ERR("Report submit failed: %d", err);
		hid_report_sent_event_submit(ch_id);
	} else {
		*in_flight = true;
	}
}

/* ================================================================= *
 *  Init
 * ================================================================= */

static int init(void)
{
	if (register_hid_devices() != 0) {
		return -ENODEV;
	}

	if (usbd_setup() != 0) {
		return -ENODEV;
	}

	module_set_state(MODULE_STATE_READY);
	LOG_INF("USB HID transport initialised");
	return 0;
}

/* ================================================================= *
 *  CAF Event Listener
 * ================================================================= */

static bool app_event_handler(const struct app_event_header *aeh)
{
	if (is_module_state_event(aeh)) {
		const struct module_state_event *evt = cast_module_state_event(aeh);

		if (evt->state == MODULE_STATE_READY &&
		    evt->module_id == MODULE_ID(main)) {
			init();
		}
		return false;
	}

	if (is_power_down_event(aeh)) {
		if (_powered_down) { return false; }
		_powered_down = true;
		_kbd_in_flight = false;
		_consumer_in_flight = false;
		hid_report_sent_event_submit(HID_CHANNEL_USB_KBD);
		hid_report_sent_event_submit(HID_CHANNEL_USB_CONSUMER);
		module_set_state(MODULE_STATE_OFF);
		return false;
	}

	if (is_wake_up_event(aeh)) {
		_powered_down = false;
		module_set_state(MODULE_STATE_READY);
		return false;
	}

	if (is_hid_report_to_send_event(aeh)) {
		on_report_to_send(cast_hid_report_to_send_event(aeh));
		return false;
	}

	if (is_mode_event(aeh)) {
		const struct mode_event *evt = cast_mode_event(aeh);

		if (evt->mode == KEYBOARD_MODE_USB) {
			usbd_enable(&usbd_ctx);
			/* 通知 scheduler USB 通道就绪 */
			hid_channel_ready_event_submit(HID_CHANNEL_USB_KBD, true);
			hid_channel_ready_event_submit(HID_CHANNEL_USB_CONSUMER, true);
		} else {
			usbd_disable(&usbd_ctx);
			/* 强制释放 in_flight + 通知 scheduler 失联 */
			_kbd_in_flight = false;
			_consumer_in_flight = false;
			hid_report_sent_event_submit(HID_CHANNEL_USB_KBD);
			hid_report_sent_event_submit(HID_CHANNEL_USB_CONSUMER);
			hid_channel_ready_event_submit(HID_CHANNEL_USB_KBD, false);
			hid_channel_ready_event_submit(HID_CHANNEL_USB_CONSUMER, false);
		}
		return false;
	}

	return false;
}

APP_EVENT_LISTENER(MODULE, app_event_handler);
APP_EVENT_SUBSCRIBE(MODULE, module_state_event);
APP_EVENT_SUBSCRIBE(MODULE, power_down_event);
APP_EVENT_SUBSCRIBE(MODULE, wake_up_event);
APP_EVENT_SUBSCRIBE(MODULE, hid_report_to_send_event);
APP_EVENT_SUBSCRIBE(MODULE, mode_event);
```
